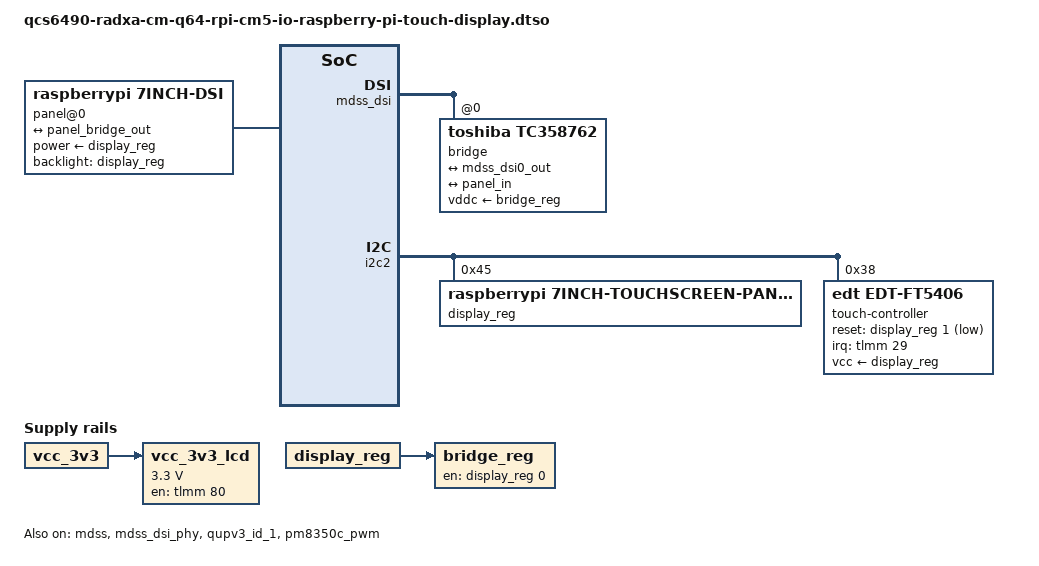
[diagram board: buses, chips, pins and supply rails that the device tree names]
// SPDX-License-Identifier: BSD-3-Clause
/*
 * Copyright (c) 2025 Radxa Computer (Shenzhen) Co., Ltd.
 */

/dts-v1/;
/plugin/;

#include <dt-bindings/gpio/gpio.h>
#include <dt-bindings/interrupt-controller/irq.h>
#include <dt-bindings/pinctrl/qcom,pmic-gpio.h>
#include <dt-bindings/pwm/pwm.h>

/ {
	metadata {
		title = "Enable Raspberry Pi Touch Display";
		compatible = "radxa,cm-q64-rpi-cm5-io";
		category = "display";
		exclusive = "mdss_dsi";
		description = "Enable Raspberry Pi Touch Display.";
	};
};

&{/} {
	vcc_3v3_lcd: vcc-3v3-lcd-regulator {
		compatible = "regulator-fixed";
		regulator-name = "vcc_3v3_lcd";
		regulator-min-microvolt = <3300000>;
		regulator-max-microvolt = <3300000>;
		gpio = <&tlmm 80 GPIO_ACTIVE_HIGH>;
		enable-active-high;
		vin-supply = <&vcc_3v3>;
	};

	bridge_reg: bridge-regulator {
		compatible = "regulator-fixed";
		regulator-name = "bridge-reg";
		gpio = <&display_reg 0 0>;
		vin-supply = <&display_reg>;
		enable-active-high;
	};

	panel@0 {
		compatible = "raspberrypi,7inch-dsi";
		backlight = <&display_reg>;
		power-supply = <&display_reg>;
		port {
			panel_in: endpoint {
				remote-endpoint = <&panel_bridge_out>;
			};
		};
	};
};

&mdss {
	status = "okay";
};

&mdss_dsi {
	vdda-supply = <&vreg_l6b_1p2>;
	#address-cells = <1>;
	#size-cells = <0>;

	status = "okay";

	bridge@0 {
		compatible = "toshiba,tc358762";
		reg = <0>;
		vddc-supply = <&bridge_reg>;
		ports {
			#address-cells = <1>;
			#size-cells = <0>;

			port@0 {
				reg = <0>;
				panel_in_dsi1: endpoint {
					remote-endpoint = <&mdss_dsi0_out>;
				};
			};

			port@1 {
				reg = <1>;
				panel_bridge_out: endpoint {
					remote-endpoint = <&panel_in>;
				};
			};
		};
	};
};

&mdss_dsi0_out {
	remote-endpoint = <&panel_in_dsi1>;
	data-lanes = <0>;
};

&mdss_dsi_phy {
	vdds-supply = <&vreg_l10c_0p88>;
	status = "okay";
};

&qupv3_id_1 {
	status = "okay";
};

&i2c2 {
	#address-cells = <1>;
	#size-cells = <0>;

	status = "okay";

	display_reg: regulator@45 {
		compatible = "raspberrypi,7inch-touchscreen-panel-regulator";
		reg = <0x45>;
		gpio-controller;
		#gpio-cells = <2>;
	};

	touch-controller@38 {
		compatible = "edt,edt-ft5406";
		reg = <0x38>;

		touchscreen-size-x = < 800 >;
		touchscreen-size-y = < 480 >;


		vcc-supply = <&display_reg>;
		reset-gpio = <&display_reg 1 1>;
		interrupt-parent = <&tlmm>;
		interrupts = <29 IRQ_TYPE_EDGE_FALLING>;

		touchscreen-inverted-x;
		touchscreen-inverted-y;
	};
};

&tlmm {
	lcd_panel_reset: lcd-panel-reset {
		pins = "gpio44";
		function = "gpio";
		drive-strength = <8>;
		bias-disable;
	};

	ts_int_conn: ts-int-conn-state {
		pins = "gpio81";
		function = "gpio";
		bias-disable;
	};

	ts_rst_conn: ts-rst-conn-state {
		pins = "gpio105";
		function = "gpio";
		drive-strength = <2>;
		bias-disable;
	};
};

&pm8350c_gpios {
	lcd_bl_pwm: dsi-lcd-bl-pwm-state {
		pins = "gpio8";
		function = "func1";
		bias-disable;
		qcom,drive-strength = <PMIC_GPIO_STRENGTH_LOW>;
		output-low;
		power-source = <0>;
	};
};

&pm8350c_pwm {
	status = "okay";
};
